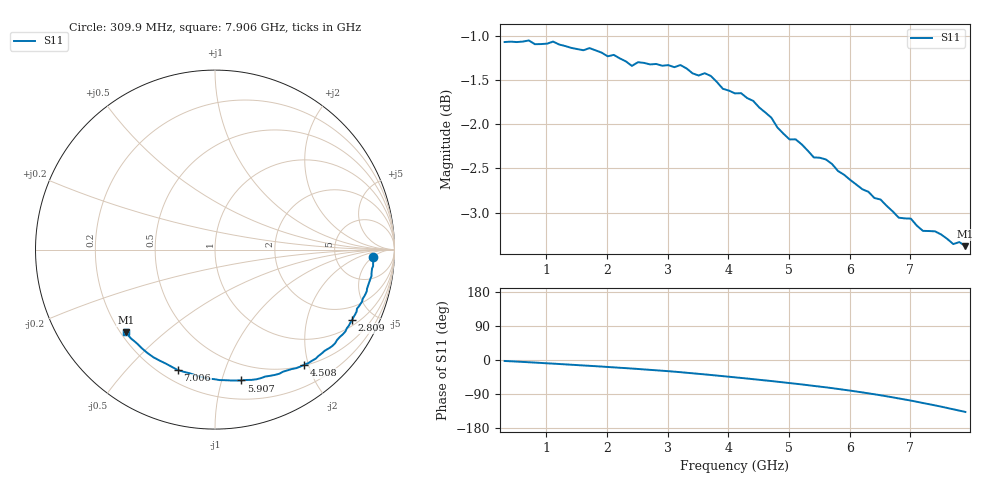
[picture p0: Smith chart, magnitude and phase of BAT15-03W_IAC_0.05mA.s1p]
! Infineon Technologies  Discrete & RF Semiconductors
! BAT15-03W-E6327
! IAC = 0.05 mA
! One-Port S-Parameters
# Hz  S  MA  R  50
!f  S11
!Hz  Mag  Ang
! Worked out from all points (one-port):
!   77 points, 309.9 MHz to 7.906 GHz, reference 50 ohm
!   lowest |S11| = -3.4 dB at 7.906 GHz (marker M1), VSWR 5.21, Z = 11 - j18.8 ohm
!   |S11| at or under -10 dB: nowhere
!   S11 on the Smith chart (normalised r, x): 309.9 MHz: 14, -5; 2.809 GHz: 1.25, -3.74; 4.508 GHz: 0.51, -1.93; 5.907 GHz: 0.36, -1.16; 7.006 GHz: 0.27, -0.70; 7.906 GHz: 0.22, -0.38
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3.0985e8  0.8839 -2.5
7.0965e8  0.8857 -5.9
8.096e8  0.8813 -6.8
1.10945e9  0.8843 -9.6
1.30935e9  0.8793 -11.5
1.70915e9  0.8769 -15.3
2.2089e9  0.8652 -20.5
2.4088e9  0.8568 -22.6
2.50875e9  0.861 -23.7
2.8086e9  0.859 -27.2
3.2084e9  0.8578 -32.1
3.70815e9  0.8458 -39.5
4.10795e9  0.8268 -45.7
4.2079e9  0.827 -47.3
4.50775e9  0.8117 -52.2
5.10745e9  0.7788 -62.6
5.4073e9  0.7607 -68.4
5.6072e9  0.7587 -72.2
5.90705e9  0.7437 -78.6
6.007e9  0.7388 -80.8
6.30685e9  0.7275 -87.9
6.50675e9  0.7202 -93.0
6.8066e9  0.7034 -101.4
7.0065e9  0.7025 -107.1
7.4063e9  0.691 -119.8
7.50625e9  0.6882 -123.1
7.8061e9  0.6814 -133.5
7.90605e9  0.6778 -137.1
